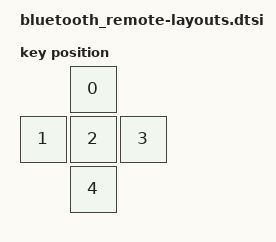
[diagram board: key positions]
// See https://zmk.dev/docs/development/hardware-integration/physical-layouts
// for how to configure this.

#include <physical_layouts.dtsi>

/ {
    default_layout: default_layout {
        compatible = "zmk,physical-layout";
        display-name = "Default Layout";
        transform = <&default_transform>;
        kscan = <&kscan>;

        keys  //                     w   h    x    y     rot    rx    ry
            = <&key_physical_attrs 100 100  100    0       0     0     0>
            , <&key_physical_attrs 100 100    0  100       0     0     0>
            , <&key_physical_attrs 100 100  100  100       0     0     0>
            , <&key_physical_attrs 100 100  200  100       0     0     0>
            , <&key_physical_attrs 100 100  100  200       0     0     0>
            ;
    };
};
